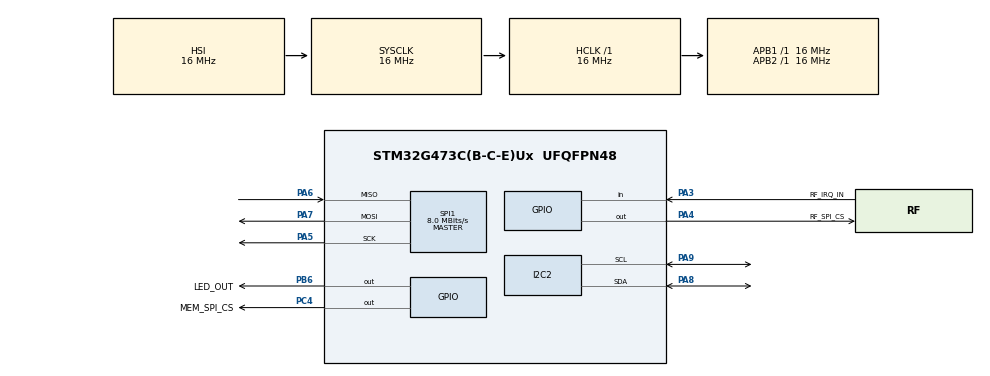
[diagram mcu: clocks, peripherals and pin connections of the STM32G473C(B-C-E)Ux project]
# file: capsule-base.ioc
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I2C2.Timing=0x00503D58
Mcu.Family=STM32G4
Mcu.Name=STM32G473C(B-C-E)Ux
Mcu.Package=UFQFPN48
NVIC.PriorityGroup=NVIC_PRIORITYGROUP_4
PA13.Mode=Trace_Asynchronous_SW
PA13.Signal=SYS_JTMS-SWDIO
PA14.Mode=Trace_Asynchronous_SW
PA14.Signal=SYS_JTCK-SWCLK
PA3.GPIO_Label=RF_IRQ_IN
PA3.Signal=GPIO_Input
PA4.GPIO_Label=RF_SPI_CS
PA4.Signal=GPIO_Output
PA5.Mode=Full_Duplex_Master
PA5.Signal=SPI1_SCK
PA6.Mode=Full_Duplex_Master
PA6.Signal=SPI1_MISO
PA7.Mode=Full_Duplex_Master
PA7.Signal=SPI1_MOSI
PA8.Mode=I2C
PA8.Signal=I2C2_SDA
PA9.Mode=I2C
PA9.Signal=I2C2_SCL
PB3.Mode=Trace_Asynchronous_SW
PB3.Signal=SYS_JTDO-SWO
PB6.GPIO_Label=LED_OUT
PB6.Signal=GPIO_Output
PC14-OSC32_IN.Mode=LSE-External-Oscillator
PC14-OSC32_IN.Signal=RCC_OSC32_IN
PC15-OSC32_OUT.Mode=LSE-External-Oscillator
PC15-OSC32_OUT.Signal=RCC_OSC32_OUT
PC4.GPIO_Label=MEM_SPI_CS
PC4.Signal=GPIO_Output
PF0-OSC_IN.Mode=HSE-External-Oscillator
PF0-OSC_IN.Signal=RCC_OSC_IN
PF1-OSC_OUT.Mode=HSE-External-Oscillator
PF1-OSC_OUT.Signal=RCC_OSC_OUT
ProjectManager.HeapSize=0x200
ProjectManager.StackSize=0x400
ProjectManager.TargetToolchain=STM32CubeIDE
RCC.AHBFreq_Value=16000000
RCC.APB1Freq_Value=16000000
RCC.APB1TimFreq_Value=16000000
RCC.APB2Freq_Value=16000000
RCC.APB2TimFreq_Value=16000000
RCC.CortexFreq_Value=16000000
RCC.EXTERNAL_CLOCK_VALUE=12288000
RCC.HCLKFreq_Value=16000000
RCC.HSE_VALUE=8000000
RCC.HSI48_VALUE=48000000
RCC.HSI_VALUE=16000000
RCC.SYSCLKFreq_VALUE=16000000
RCC.USBFreq_Value=64000000
RCC.VCOOutputFreq_Value=128000000
SPI1.CalculateBaudRate=8.0 MBits/s
SPI1.Direction=SPI_DIRECTION_2LINES
SPI1.Mode=SPI_MODE_MASTER
SPI1.VirtualType=VM_MASTER
VP_SYS_VS_DBSignals.Mode=DisableDeadBatterySignals
board=custom

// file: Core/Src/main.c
/* USER CODE BEGIN Header */
/**
  ******************************************************************************
  * @file           : main.c
  * @brief          : Main program body
  ******************************************************************************
  * @attention
  *
  * Copyright (c) 2025 STMicroelectronics.
  * All rights reserved.
  *
  * This software is licensed under terms that can be found in the LICENSE file
  * in the root directory of this software component.
  * If no LICENSE file comes with this software, it is provided AS-IS.
  *
  ******************************************************************************
  */
/* USER CODE END Header */
#include "main.h"

/* USER CODE BEGIN Includes */
#include "adxl343.h"
#include "mlx90640_api.h"
#include "mlx90640_i2c_driver.h"
/* USER CODE END Includes */

/* USER CODE BEGIN PD */
#define MLX_TA_SHIFT 8
/* USER CODE END PD */

I2C_HandleTypeDef hi2c2;

SPI_HandleTypeDef hspi1;

void SystemClock_Config(void);
static void MX_GPIO_Init(void);
static void MX_I2C2_Init(void);
static void MX_SPI1_Init(void);
/* USER CODE BEGIN PFP */
I2C_HandleTypeDef *adxl_handle;
I2C_HandleTypeDef *mlx_handle;
/* USER CODE END PFP */

int main(void)
{

  /* MCU Configuration--------------------------------------------------------*/

  /* Reset of all peripherals, Initializes the Flash interface and the Systick. */
  HAL_Init();

  /* Configure the system clock */
  SystemClock_Config();

  /* Initialize all configured peripherals */
  MX_GPIO_Init();
  MX_I2C2_Init();
  MX_SPI1_Init();
  /* USER CODE BEGIN 2 */
  adxl_handle = &hi2c2;
  mlx_handle = &hi2c2;

  static uint16_t eeMLX90640[832];
  paramsMLX90640 mlx90640;
  static uint16_t mlx90640Frame[834];
  float mlx_ta;
  float mlx_emissivity = 0.95;
  float mlx_tr;
  static float mlx90640To[768];
  /* USER CODE END 2 */

  /* Infinite loop */
  while (1)
  {

    /* USER CODE BEGIN 3 */
	  int adxl_init = ADXL343_Init();

	  // expected value of adxl_chipid: 0xE5
	  uint8_t adxl_chipid;
	  ADXL343_Read(ADXL343_REG_DEVID, &adxl_chipid, 1);

	  MLX90640_SetResolution(MLX_ADDR, 0x00);		// 16-bit resolution
	  MLX90640_SetRefreshRate(MLX_ADDR, 0x00);		// 0.5 Hz
	  MLX90640_SetChessMode(MLX_ADDR);				// chess mode
	  MLX90640_DumpEE(MLX_ADDR, eeMLX90640);
	  MLX90640_ExtractParameters(eeMLX90640, &mlx90640);
	  uint16_t mlx_serialno[3];
	  MLX90640_I2CRead(MLX_ADDR, MLX90640_DEVID1, 3, mlx_serialno);

	  int mlx_status = MLX90640_SynchFrame(MLX_ADDR);
	  if (mlx_status == 0) {
		  MLX90640_GetFrameData(MLX_ADDR, mlx90640Frame);
		  mlx_ta = MLX90640_GetTa(mlx90640Frame, &mlx90640);
		  mlx_tr = mlx_ta - MLX_TA_SHIFT;
		  MLX90640_CalculateTo(mlx90640Frame, &mlx90640, mlx_emissivity, mlx_tr, mlx90640To);
	  }

	  while (1) {
		  HAL_GPIO_WritePin(GPIOB, GPIO_PIN_6, GPIO_PIN_SET);
		  HAL_Delay(1000);
		  HAL_GPIO_WritePin(GPIOB, GPIO_PIN_6, GPIO_PIN_RESET);
		  HAL_Delay(500);
	  }
  }
  /* USER CODE END 3 */
}

void SystemClock_Config(void)
{
  RCC_OscInitTypeDef RCC_OscInitStruct = {0};
  RCC_ClkInitTypeDef RCC_ClkInitStruct = {0};

  /** Configure the main internal regulator output voltage
  */
  HAL_PWREx_ControlVoltageScaling(PWR_REGULATOR_VOLTAGE_SCALE1);

  /** Initializes the RCC Oscillators according to the specified parameters
  * in the RCC_OscInitTypeDef structure.
  */
  RCC_OscInitStruct.OscillatorType = RCC_OSCILLATORTYPE_HSI;
  RCC_OscInitStruct.HSIState = RCC_HSI_ON;
  RCC_OscInitStruct.HSICalibrationValue = RCC_HSICALIBRATION_DEFAULT;
  RCC_OscInitStruct.PLL.PLLState = RCC_PLL_NONE;
  if (HAL_RCC_OscConfig(&RCC_OscInitStruct) != HAL_OK)
  {
    Error_Handler();
  }

  /** Initializes the CPU, AHB and APB buses clocks
  */
  RCC_ClkInitStruct.ClockType = RCC_CLOCKTYPE_HCLK|RCC_CLOCKTYPE_SYSCLK
                              |RCC_CLOCKTYPE_PCLK1|RCC_CLOCKTYPE_PCLK2;
  RCC_ClkInitStruct.SYSCLKSource = RCC_SYSCLKSOURCE_HSI;
  RCC_ClkInitStruct.AHBCLKDivider = RCC_SYSCLK_DIV1;
  RCC_ClkInitStruct.APB1CLKDivider = RCC_HCLK_DIV1;
  RCC_ClkInitStruct.APB2CLKDivider = RCC_HCLK_DIV1;

  if (HAL_RCC_ClockConfig(&RCC_ClkInitStruct, FLASH_LATENCY_0) != HAL_OK)
  {
    Error_Handler();
  }
}

static void MX_I2C2_Init(void)
{

  hi2c2.Instance = I2C2;
  hi2c2.Init.Timing = 0x00503D58;
  hi2c2.Init.OwnAddress1 = 0;
  hi2c2.Init.AddressingMode = I2C_ADDRESSINGMODE_7BIT;
  hi2c2.Init.DualAddressMode = I2C_DUALADDRESS_DISABLE;
  hi2c2.Init.OwnAddress2 = 0;
  hi2c2.Init.OwnAddress2Masks = I2C_OA2_NOMASK;
  hi2c2.Init.GeneralCallMode = I2C_GENERALCALL_DISABLE;
  hi2c2.Init.NoStretchMode = I2C_NOSTRETCH_DISABLE;
  if (HAL_I2C_Init(&hi2c2) != HAL_OK)
  {
    Error_Handler();
  }

  /** Configure Analogue filter
  */
  if (HAL_I2CEx_ConfigAnalogFilter(&hi2c2, I2C_ANALOGFILTER_ENABLE) != HAL_OK)
  {
    Error_Handler();
  }

  /** Configure Digital filter
  */
  if (HAL_I2CEx_ConfigDigitalFilter(&hi2c2, 0) != HAL_OK)
  {
    Error_Handler();
  }

}

static void MX_SPI1_Init(void)
{

  /* SPI1 parameter configuration*/
  hspi1.Instance = SPI1;
  hspi1.Init.Mode = SPI_MODE_MASTER;
  hspi1.Init.Direction = SPI_DIRECTION_2LINES;
  hspi1.Init.DataSize = SPI_DATASIZE_4BIT;
  hspi1.Init.CLKPolarity = SPI_POLARITY_LOW;
  hspi1.Init.CLKPhase = SPI_PHASE_1EDGE;
  hspi1.Init.NSS = SPI_NSS_SOFT;
  hspi1.Init.BaudRatePrescaler = SPI_BAUDRATEPRESCALER_2;
  hspi1.Init.FirstBit = SPI_FIRSTBIT_MSB;
  hspi1.Init.TIMode = SPI_TIMODE_DISABLE;
  hspi1.Init.CRCCalculation = SPI_CRCCALCULATION_DISABLE;
  hspi1.Init.CRCPolynomial = 7;
  hspi1.Init.CRCLength = SPI_CRC_LENGTH_DATASIZE;
  hspi1.Init.NSSPMode = SPI_NSS_PULSE_ENABLE;
  if (HAL_SPI_Init(&hspi1) != HAL_OK)
  {
    Error_Handler();
  }

}

static void MX_GPIO_Init(void)
{
  GPIO_InitTypeDef GPIO_InitStruct = {0};

  /* GPIO Ports Clock Enable */
  __HAL_RCC_GPIOC_CLK_ENABLE();
  __HAL_RCC_GPIOF_CLK_ENABLE();
  __HAL_RCC_GPIOA_CLK_ENABLE();
  __HAL_RCC_GPIOB_CLK_ENABLE();

  /*Configure GPIO pin Output Level */
  HAL_GPIO_WritePin(RF_SPI_CS_GPIO_Port, RF_SPI_CS_Pin, GPIO_PIN_RESET);

  /*Configure GPIO pin Output Level */
  HAL_GPIO_WritePin(MEM_SPI_CS_GPIO_Port, MEM_SPI_CS_Pin, GPIO_PIN_RESET);

  /*Configure GPIO pin Output Level */
  HAL_GPIO_WritePin(LED_OUT_GPIO_Port, LED_OUT_Pin, GPIO_PIN_RESET);

  /*Configure GPIO pin : RF_IRQ_IN_Pin */
  GPIO_InitStruct.Pin = RF_IRQ_IN_Pin;
  GPIO_InitStruct.Mode = GPIO_MODE_INPUT;
  GPIO_InitStruct.Pull = GPIO_NOPULL;
  HAL_GPIO_Init(RF_IRQ_IN_GPIO_Port, &GPIO_InitStruct);

  /*Configure GPIO pin : RF_SPI_CS_Pin */
  GPIO_InitStruct.Pin = RF_SPI_CS_Pin;
  GPIO_InitStruct.Mode = GPIO_MODE_OUTPUT_PP;
  GPIO_InitStruct.Pull = GPIO_NOPULL;
  GPIO_InitStruct.Speed = GPIO_SPEED_FREQ_LOW;
  HAL_GPIO_Init(RF_SPI_CS_GPIO_Port, &GPIO_InitStruct);

  /*Configure GPIO pin : MEM_SPI_CS_Pin */
  GPIO_InitStruct.Pin = MEM_SPI_CS_Pin;
  GPIO_InitStruct.Mode = GPIO_MODE_OUTPUT_PP;
  GPIO_InitStruct.Pull = GPIO_NOPULL;
  GPIO_InitStruct.Speed = GPIO_SPEED_FREQ_LOW;
  HAL_GPIO_Init(MEM_SPI_CS_GPIO_Port, &GPIO_InitStruct);

  /*Configure GPIO pin : LED_OUT_Pin */
  GPIO_InitStruct.Pin = LED_OUT_Pin;
  GPIO_InitStruct.Mode = GPIO_MODE_OUTPUT_PP;
  GPIO_InitStruct.Pull = GPIO_NOPULL;
  GPIO_InitStruct.Speed = GPIO_SPEED_FREQ_LOW;
  HAL_GPIO_Init(LED_OUT_GPIO_Port, &GPIO_InitStruct);

}

void Error_Handler(void)
{
  __disable_irq();
  while (1)
  {
  }
}
